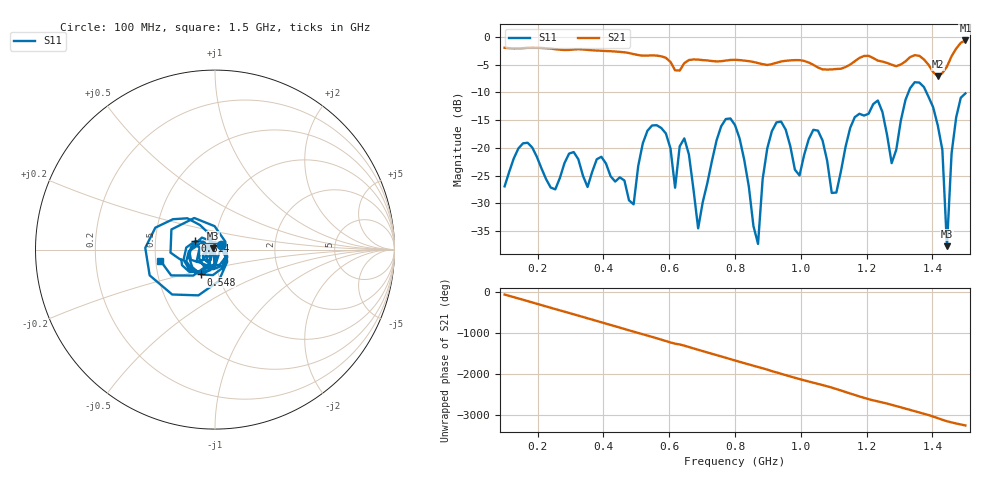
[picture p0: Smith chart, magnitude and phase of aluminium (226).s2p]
! NanoVNA-App
! Date: 2025-09-25 14:57:02
! Start: 100MHz Stop: 1,5GHz Points: 101
! S-Parameter data: F S11 S21 S12 S22
# Hz S RI R 50
!  Frequency  S11_Real  S11_Imag  S21_Real  S21_Imag  S12_Real  S12_Imag  S22_Real  S22_Imag
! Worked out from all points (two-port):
!   101 points, 100 MHz to 1.5 GHz, reference 50 ohm
!   highest |S21| = -0.60 dB at 1.5 GHz (marker M1); lowest = -7.1 dB at 1.416 GHz (marker M2)
!   |S21| within 3 dB of the highest: start of sweep to 583.2 MHz; 1.457 GHz to end of sweep (the widest 2 of 4)
!   lowest |S11| = -37.8 dB at 1.444 GHz (marker M3), VSWR 1.03, Z = 48.9 + j0.612 ohm
!   |S11| at or under -10 dB: start of sweep to 1.327 GHz; 1.382 GHz to end of sweep
!   S12 and S22 are empty: the file has one direction only
!   S11 on the Smith chart (normalised r, x): 100 MHz: 1.07, +0.06; 548 MHz: 0.82, -0.23; 814 MHz: 0.79, +0.07; 1.5 GHz: 0.53, -0.07
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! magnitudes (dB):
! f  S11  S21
! 100 MHz  -27.0  -1.9
! 338 MHz  -25.0  -2.2
! 492 MHz  -30.2  -3.1
! 548 MHz  -16.0  -3.3
! 576 MHz  -16.4  -3.5
! 618 MHz  -27.2  -6.0
! 646 MHz  -18.3  -4.7
! 688 MHz  -34.5  -4.1
! 800 MHz  -15.9  -4.1
! 814 MHz  -18.3  -4.1
! 870 MHz  -37.4  -4.7
! 912 MHz  -17.0  -4.9
! 996 MHz  -25.0  -4.2
! 1.038 GHz  -16.7  -5.0
! 1.108 GHz  -28.1  -5.8
! 1.234 GHz  -11.5  -4.2
! 1.276 GHz  -22.8  -5.0
! 1.346 GHz  -8.1  -3.3
! 1.416 GHz  -15.9  -7.1
! 1.444 GHz  -37.8  -5.3
! 1.458 GHz  -21.0  -3.5
! 1.5 GHz  -10.2  -0.6
